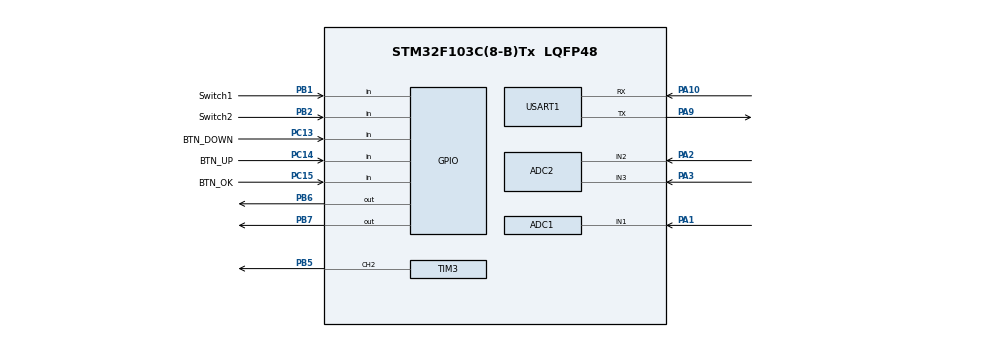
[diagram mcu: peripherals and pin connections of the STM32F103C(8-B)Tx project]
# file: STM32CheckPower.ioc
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ADC1.Channel-2\#ChannelRegularConversion=ADC_CHANNEL_1
ADC1.ContinuousConvMode=DISABLE
ADC1.EnableRegularConversion=ENABLE
ADC1.ExternalTrigConv=ADC_EXTERNALTRIGCONV_T4_CC4
ADC1.NbrOfConversionFlag=1
ADC1.Rank-2\#ChannelRegularConversion=1
ADC1.SamplingTime-2\#ChannelRegularConversion=ADC_SAMPLETIME_71CYCLES_5
ADC1.master=1
ADC2.Channel-0\#ChannelRegularConversion=ADC_CHANNEL_2
ADC2.ContinuousConvMode=DISABLE
ADC2.DiscontinuousConvMode=DISABLE
ADC2.NbrOfConversion=1
ADC2.NbrOfConversionFlag=1
ADC2.Rank-0\#ChannelRegularConversion=1
ADC2.SamplingTime-0\#ChannelRegularConversion=ADC_SAMPLETIME_28CYCLES_5
Dma.ADC1.0.Direction=DMA_PERIPH_TO_MEMORY
Dma.ADC1.0.Instance=DMA1_Channel1
Dma.ADC1.0.MemDataAlignment=DMA_MDATAALIGN_HALFWORD
Dma.ADC1.0.MemInc=DMA_MINC_ENABLE
Dma.ADC1.0.Mode=DMA_CIRCULAR
Dma.ADC1.0.PeriphDataAlignment=DMA_PDATAALIGN_HALFWORD
Dma.ADC1.0.PeriphInc=DMA_PINC_DISABLE
Dma.ADC1.0.Priority=DMA_PRIORITY_LOW
Dma.Request0=ADC1
Mcu.Family=STM32F1
Mcu.Name=STM32F103C(8-B)Tx
Mcu.Package=LQFP48
NVIC.DMA1_Channel1_IRQn=true\:0\:0\:false\:false\:true\:true\:true\:true
NVIC.PriorityGroup=NVIC_PRIORITYGROUP_4
NVIC.TIM4_IRQn=true\:0\:0\:false\:false\:true\:true\:true\:true
PA1.Signal=ADCx_IN1
PA10.Mode=Asynchronous
PA10.Signal=USART1_RX
PA13.Mode=Serial_Wire
PA13.Signal=SYS_JTMS-SWDIO
PA14.Mode=Serial_Wire
PA14.Signal=SYS_JTCK-SWCLK
PA2.Signal=ADCx_IN2
PA3.Signal=ADCx_IN3
PA9.Mode=Asynchronous
PA9.Signal=USART1_TX
PB1.GPIO_Label=Switch1
PB1.GPIO_PuPd=GPIO_PULLUP
PB1.Signal=GPIO_Input
PB2.GPIO_Label=Switch2
PB2.GPIO_PuPd=GPIO_PULLUP
PB2.Signal=GPIO_Input
PB5.Signal=S_TIM3_CH2
PB6.Signal=GPIO_Output
PB7.Signal=GPIO_Output
PC13-TAMPER-RTC.GPIO_Label=BTN_DOWN
PC13-TAMPER-RTC.GPIO_PuPd=GPIO_PULLUP
PC13-TAMPER-RTC.Signal=GPIO_Input
PC14-OSC32_IN.GPIO_Label=BTN_UP
PC14-OSC32_IN.GPIO_PuPd=GPIO_PULLUP
PC14-OSC32_IN.Signal=GPIO_Input
PC15-OSC32_OUT.GPIO_Label=BTN_OK
PC15-OSC32_OUT.GPIO_PuPd=GPIO_PULLUP
PC15-OSC32_OUT.Signal=GPIO_Input
PD0-OSC_IN.Mode=HSE-External-Oscillator
PD0-OSC_IN.Signal=RCC_OSC_IN
PD1-OSC_OUT.Mode=HSE-External-Oscillator
PD1-OSC_OUT.Signal=RCC_OSC_OUT
ProjectManager.HeapSize=0x200
ProjectManager.StackSize=0x400
ProjectManager.TargetToolchain=STM32CubeIDE
RCC.ADCPresc=RCC_ADCPCLK2_DIV6
RCC.AHBFreq_Value=72000000
RCC.APB1CLKDivider=RCC_HCLK_DIV2
RCC.APB1Freq_Value=36000000
RCC.APB1TimFreq_Value=72000000
RCC.APB2Freq_Value=72000000
RCC.APB2TimFreq_Value=72000000
RCC.HCLKFreq_Value=72000000
RCC.PLLMUL=RCC_PLL_MUL9
RCC.PLLSourceVirtual=RCC_PLLSOURCE_HSE
RCC.SYSCLKFreq_VALUE=72000000
RCC.SYSCLKSource=RCC_SYSCLKSOURCE_PLLCLK
RCC.USBFreq_Value=72000000
SH.ADCx_IN1.0=ADC1_IN1,IN1
SH.ADCx_IN2.0=ADC2_IN2,IN2
SH.ADCx_IN3.0=ADC2_IN3,IN3
SH.S_TIM3_CH2.0=TIM3_CH2,PWM Generation2 CH2
STMicroelectronics.X-CUBE-ALGOBUILD.1.4.0.LibraryCcDSPOoLibraryJjDSPOoLibrary=true
TIM3.AutoReloadPreload=TIM_AUTORELOAD_PRELOAD_ENABLE
TIM3.Channel-PWM\ Generation2\ CH2=TIM_CHANNEL_2
TIM3.Period=500-1
TIM3.Prescaler=72-1
TIM4.AutoReloadPreload=TIM_AUTORELOAD_PRELOAD_ENABLE
TIM4.Channel-PWM\ Generation4\ No\ Output=TIM_CHANNEL_4
TIM4.OCPolarity_4=TIM_OCPOLARITY_LOW
TIM4.Period=100-1
TIM4.Prescaler=72-1
TIM4.Pulse-PWM\ Generation4\ No\ Output=50-1
TIM4.TIM_MasterOutputTrigger=TIM_TRGO_OC4REF
TIM4.TIM_MasterSlaveMode=TIM_MASTERSLAVEMODE_ENABLE
USART1.VirtualMode=VM_ASYNC
VP_STMicroelectronics.X-CUBE-ALGOBUILD_VS_DSPOoLibraryJjLibrary_1.4.0_1.4.0.Mode=DSPOoLibraryJjLibrary
VP_TIM4_VS_ClockSourceINT.Mode=Internal
VP_TIM4_VS_no_output4.Mode=PWM Generation4 No Output
board=custom

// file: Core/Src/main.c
/* USER CODE BEGIN Header */
/**
  ******************************************************************************
  * @file           : main.c
  * @brief          : Main program body
  ******************************************************************************
  * @attention
  *
  * Copyright (c) 2024 STMicroelectronics.
  * All rights reserved.
  *
  * This software is licensed under terms that can be found in the LICENSE file
  * in the root directory of this software component.
  * If no LICENSE file comes with this software, it is provided AS-IS.
  *
  ******************************************************************************
  */
/* USER CODE END Header */
#include "main.h"
#include "adc.h"
#include "dma.h"
#include "tim.h"
#include "usart.h"
#include "gpio.h"

/* USER CODE BEGIN Includes */
#include <stdio.h>
#include "arm_math.h"
#include "retarget.h"
#include "ssd1306.h"
#include <stdbool.h>
/* USER CODE END Includes */

/* USER CODE BEGIN PV */
int nowAlarmType = AlarmTypeLow;
int oldAlarmType = AlarmTypeLow;
int alarmValue = 10;
int alarmValueManual = 30;
int newAlarmValueManual = 30;
uint8_t y = 0;
uint8_t x = 0;

extern uint16_t testbuffer[2];
extern uint16_t adc_buffer[1024];
extern uint16_t adc_buffer_cnt;

extern DMA_HandleTypeDef hdma_adc1;
#define SW1 HAL_GPIO_ReadPin(Switch1_GPIO_Port, Switch1_Pin)
#define SW2 HAL_GPIO_ReadPin(Switch2_GPIO_Port, Switch2_Pin)
#define UP_PRESS HAL_GPIO_ReadPin(BTN_UP_GPIO_Port, BTN_UP_Pin) == 0
#define DOWN_PRESS HAL_GPIO_ReadPin(BTN_DOWN_GPIO_Port, BTN_DOWN_Pin) == 0
#define OK_PRESS HAL_GPIO_ReadPin(BTN_OK_GPIO_Port, BTN_OK_Pin) == 0
/* USER CODE END PV */

void SystemClock_Config(void);

/* USER CODE BEGIN 0 */
void showAlarmTypeLow() {
    oled_ShownChinese(0x00, 0x04, type_low_words[0]);
    oled_ShownChinese(0x10, 0x04, type_low_words[1]);
    oled_ShownEnglish(0x20, 0x04, type_low_words[2]); //:
    oled_ShownEnglish(0x29, 0x04, type_low_words[3]); //5
    oled_ShownChinese(0x30, 0x04, type_low_words[4]);
    oled_ShownEnglish(0x40, 0x04, type_low_words[5]);
    oled_ShownChinese(0x49, 0x04, type_low_words[6]);
    oled_ShownEnglish(0x59, 0x04, type_low_words[7]);
    oled_ShownEnglish(0x60, 0x04, type_low_words[8]);
    oled_ShownEnglish(0x69, 0x04, type_low_words[9]);
    oled_ShownChinese(0x70, 0x04, type_low_words[10]);
}
void showAlarmTypeHigh() {
    oled_ShownChinese(0x00, 0x04, type_high_words[0]);
    oled_ShownChinese(0x10, 0x04, type_high_words[1]);
    oled_ShownEnglish(0x20, 0x04, type_high_words[2]); //:
    oled_ShownEnglish(0x29, 0x04, type_high_words[3]); //5
    oled_ShownChinese(0x30, 0x04, type_high_words[4]);
    oled_ShownEnglish(0x40, 0x04, type_high_words[5]);
    oled_ShownChinese(0x49, 0x04, type_high_words[6]);
    oled_ShownEnglish(0x59, 0x04, type_high_words[7]);
    oled_ShownEnglish(0x60, 0x04, type_high_words[8]);
    oled_ShownEnglish(0x69, 0x04, type_high_words[9]);
    oled_ShownChinese(0x70, 0x04, type_high_words[10]);
}
void showAlarmTypeManual() {
    oled_ShownChinese(0x00, 0x04, type_manual_words[0]);
    oled_ShownChinese(0x10, 0x04, type_manual_words[1]);
    oled_ShownEnglish(0x20, 0x04, type_manual_words[2]); //:
    oled_ShownChinese(0x29, 0x04, type_manual_words[3]);
    oled_ShownChinese(0x39, 0x04, type_manual_words[4]);
    oled_ShownChinese(0x49, 0x04, type_manual_words[5]);
    oled_ShownChinese(0x59, 0x04, type_manual_words[6]);
    oled_ShownChinese(0x69, 0x04, type_manual_words[7]);
    oled_ShownEnglish(0x79, 0x04, type_manual_words[8]);
}
/* USER CODE END 0 */

int main(void) {

    /* MCU Configuration--------------------------------------------------------*/

    /* Reset of all peripherals, Initializes the Flash interface and the Systick. */
    HAL_Init();

    /* Configure the system clock */
    SystemClock_Config();

    /* Initialize all configured peripherals */
    MX_GPIO_Init();
    MX_DMA_Init();
    MX_USART1_UART_Init();
    MX_ADC1_Init();
    MX_ADC2_Init();
    MX_TIM4_Init();
    MX_TIM3_Init();

    /* Infinite loop */
    /* USER CODE BEGIN WHILE */
    HAL_TIM_PWM_Start(&htim4, TIM_CHANNEL_4);
    HAL_TIM_PWM_Start(&htim3, TIM_CHANNEL_2);

    HAL_ADCEx_Calibration_Start(&hadc1);
    HAL_ADCEx_Calibration_Start(&hadc2);
    __HAL_DMA_ENABLE_IT(&hdma_adc1, DMA_IT_TC);
    HAL_ADC_Start_DMA(&hadc1, (uint32_t *) &testbuffer, 1);
    float32_t rms_buffer[1024] = {0};
    volatile float BaseVolatge;
    float32_t rms_303 = 0.0f;
    HAL_Delay(200);
    OLED_init();
    OLED_full();
    HAL_Delay(200);
    //    int fps = 0;
    char str[20];

    RetargetInit(&huart1);
    OLED_full();
    oled_ShownChinese(0x00, 0x00, Chinese_word[6]);
    oled_ShownChinese(0x10, 0x00, Chinese_word[7]);
    oled_ShownChinese(0x20, 0x00, Chinese_word[0]);
    oled_ShownChinese(0x30, 0x00, Chinese_word[1]);
    oled_ShownChinese(0x00, 0x02, Chinese_word[2]);
    oled_ShownChinese(0x10, 0x02, Chinese_word[3]);
////<<<<<<< Updated upstream

    showAlarmTypeLow();

    //    oled_ShownChinese(0x10, 0x04, type_low_words[1]);
//=======
//    //dangwei
//    oled_ShownChinese(0x00, 0x04, type_low_words[0]);
//    oled_ShownChinese(0x10, 0x04, type_low_words[1]);
//    sprintf(str, ":5");
//    oled_write_string(0x20, 0x00, str, 8);
//    oled_ShownChinese(0x20, 0x04, type_low_words[3]);
//    oled_ShownChinese(0x30, 0x04, type_low_words[4]);
//    oled_ShownChinese(0x38, 0x04, type_low_words[5]);
//    oled_ShownChinese(0x40, 0x04, type_low_words[6]);
//    oled_ShownChinese(0x48, 0x04, type_low_words[7]);
//    oled_ShownChinese(0x50, 0x04, type_low_words[8]);
//    oled_ShownChinese(0x58, 0x04, type_low_words[9]);
//    oled_ShownChinese(0x58, 0x04, type_low_words[10]);
//    oled_ShownChinese(0x68, 0x04, type_low_words[11]);
//    oled_ShownChinese(0x70, 0x04, type_low_words[12]);
//    oled_ShownChinese(0x78, 0x04, type_low_words[13]);
//
//    for (int i = 0; i < 7; ++i) {
//        oled_ShownChinese(i*16, 0x04, type_low_words[i]);
//    }
////    oled_ShownChinese(0x10, 0x04, type_low_words[1]);
//>>>>>>> Stashed changes
    sprintf(str, ":%dV    ", alarmValue);
    oled_write_string(0x40, 0x00, str, 8);

    while (1) {
        //get alarm type
        if (SW1 == 0) {
            nowAlarmType = AlarmTypeLow;
            alarmValue = 10;
            showAlarmTypeLow();
        } else if (SW2 == 0) {
            nowAlarmType = AlarmTypeManual;
            alarmValue = alarmValueManual;
            showAlarmTypeManual();
        } else {
            nowAlarmType = AlarmTypeHigh;
            alarmValue = 30;
            showAlarmTypeHigh();
        }

        //refresh the oled with new alarm type
        if (nowAlarmType != oldAlarmType) {
            oldAlarmType = nowAlarmType;
///<<<<<<< Updated upstream
            // if (nowAlarmType == AlarmTypeLow) {
            // } else if (nowAlarmType == AlarmTypeHigh) {
            // } else {
            // }
//=======
//            if (nowAlarmType == AlarmTypeLow) {
////                sprintf(str, ":%dV-%dV    ", 5, 30);
////                for (int i = 0; i < 8; ++i) {
////                    oled_ShownChinese(i*16, 0x04, type_low_words[i]);
////                }
////            oled_ShownChinese(0, 0x04, type_high_words[i]);
//                oled_ShownChinese(0x00, 0x04, type_low_words[0]);
//                oled_ShownChinese(0x10, 0x04, type_low_words[1]);
//                oled_ShownChinese(0x18, 0x04, type_low_words[2]);
//                oled_ShownChinese(0x20, 0x04, type_low_words[3]);
//                oled_ShownChinese(0x30, 0x04, type_low_words[4]);
//                oled_ShownChinese(0x38, 0x04, type_low_words[5]);
//                oled_ShownChinese(0x40, 0x04, type_low_words[6]);
//                oled_ShownChinese(0x48, 0x04, type_low_words[7]);
//                oled_ShownChinese(0x50, 0x04, type_low_words[8]);
//                oled_ShownChinese(0x58, 0x04, type_low_words[9]);
//                oled_ShownChinese(0x58, 0x04, type_low_words[10]);
//                oled_ShownChinese(0x68, 0x04, type_low_words[11]);
//                oled_ShownChinese(0x70, 0x04, type_low_words[12]);
//                oled_ShownChinese(0x78, 0x04, type_low_words[13]);
//
//            } else if (nowAlarmType == AlarmTypeHigh) {
//                for (int i = 0; i < 8; ++i) {
//                    oled_ShownChinese(i*16, 0x04, type_high_words[i]);
//                }
//            }
//            else {
//                for (int i = 0; i < 7; ++i) {
//                    oled_ShownChinese(i*16, 0x04, type_manual_words[i]);
//                }
//                sprintf(str, ":%dV      ", alarmValueManual);
//                oled_write_string(0x40, 0x00, str, 8);
//            }
//
//            oled_write_string(0x20, 0x04, str, 12);
///>>>>>>> Stashed changes
            sprintf(str, ":%dV      ", alarmValue);
            oled_write_string(0x40, 0x00, str, 8);
        }

        //change the alarm value
        if (UP_PRESS) {
            HAL_Delay(20);
            if (UP_PRESS && nowAlarmType == AlarmTypeManual) {
                if (newAlarmValueManual < 250) {
                    newAlarmValueManual += 5;
                    sprintf(str, "%dV ", newAlarmValueManual);
                    oled_write_string_Over(0x48, 0x00, str, 4);
                }
            }
        }
        if (DOWN_PRESS) {
            HAL_Delay(20);
            if (DOWN_PRESS && nowAlarmType == AlarmTypeManual) {
                if (newAlarmValueManual > 20) {
                    newAlarmValueManual -= 5;
                    sprintf(str, "%dV ", newAlarmValueManual);
                    oled_write_string_Over(0x48, 0x00, str, 4);
                }
            }
        }
        if (OK_PRESS) {
            HAL_Delay(20);
            if (OK_PRESS && nowAlarmType == AlarmTypeManual) {
                alarmValueManual = newAlarmValueManual;
                sprintf(str, ":%dV   ", alarmValueManual);
                oled_write_string(0x40, 0x00, str, strlen(str));
            }
        }

        //adc work
        if (adc_buffer_cnt == 1024) {
            for (int i = 0; i < 1024; i++) {
                // rms_buffer[i] = adc_buffer[i] / 4096.0 * 3.3 - (3.3 / (750 + 240) * 240 * 2); //1:(3+1),2 Maginify
                rms_buffer[i] = adc_buffer[i] / 4096.0 * 3.3 - 1.754; //1:(3+1),2 Maginify
                // printf("%f\n", rms_buffer[i]);
            }
            float square_buffer[1024]; // 存储平方值
            float mean_square;
            arm_mult_f32(rms_buffer, rms_buffer, square_buffer, 1024);

            // 3. 计算平方的平均值
            arm_mean_f32(square_buffer, 1024, &mean_square);

            // 4. 计算有效值（RMS）
            arm_sqrt_f32(mean_square, &rms_303);
            adc_buffer_cnt=0;
        }

        //calculate the alarm value
        double rms_220 = (rms_303) / 0.0309 * 11.0309 / 750.0 * (750 + 240 + 30.9) / 2.0; //0.0309:11,1:3,2Maginify
        rms_220 *= 1.05;
        printf("%f\r\n", rms_220);
        // rms_220 = rms_220 * 1.085;
        //check is need alarm
        if ((int) rms_220 > alarmValue) {
            //                HAL_GPIO_WritePin(BEEP_GPIO_Port, BEEP_Pin, 1);
            //                ssd1306_SetCursor(2, 50);
            htim3.Instance->CCR2 = 250;
            sprintf(str, "  ALARMING!!!!  ");
            oled_write_string(0x00, 0x06, str, strlen(str));
        } else {
            //                HAL_GPIO_WritePin(BEEP_GPIO_Port, BEEP_Pin, 0);
            htim3.Instance->CCR2 = 0;
            //                ssd1306_SetCursor(2, 50);
            sprintf(str, "  WORKING....   ");
            oled_write_string(0x00, 0x06, str, strlen(str));
        }
        //            ssd1306_SetCursor(30, 24);
        sprintf(str, ":%.1fV        ", rms_220);
        oled_write_string(0x20, 0x02, str, 12);

        /* USER CODE END WHILE */

    }
}

void SystemClock_Config(void) {
    LL_FLASH_SetLatency(LL_FLASH_LATENCY_2);
    while (LL_FLASH_GetLatency() != LL_FLASH_LATENCY_2) {
    }
    LL_RCC_HSE_Enable();

    /* Wait till HSE is ready */
    while (LL_RCC_HSE_IsReady() != 1) {
    }
    LL_RCC_PLL_ConfigDomain_SYS(LL_RCC_PLLSOURCE_HSE_DIV_1, LL_RCC_PLL_MUL_9);
    LL_RCC_PLL_Enable();

    /* Wait till PLL is ready */
    while (LL_RCC_PLL_IsReady() != 1) {
    }
    LL_RCC_SetAHBPrescaler(LL_RCC_SYSCLK_DIV_1);
    LL_RCC_SetAPB1Prescaler(LL_RCC_APB1_DIV_2);
    LL_RCC_SetAPB2Prescaler(LL_RCC_APB2_DIV_1);
    LL_RCC_SetSysClkSource(LL_RCC_SYS_CLKSOURCE_PLL);

    /* Wait till System clock is ready */
    while (LL_RCC_GetSysClkSource() != LL_RCC_SYS_CLKSOURCE_STATUS_PLL) {
    }
    LL_SetSystemCoreClock(72000000);

    /* Update the time base */
    if (HAL_InitTick(TICK_INT_PRIORITY) != HAL_OK) {
        Error_Handler();
    }
    LL_RCC_SetADCClockSource(LL_RCC_ADC_CLKSRC_PCLK2_DIV_6);
}

void Error_Handler(void) {
    __disable_irq();
    while (1) {
    }
}
